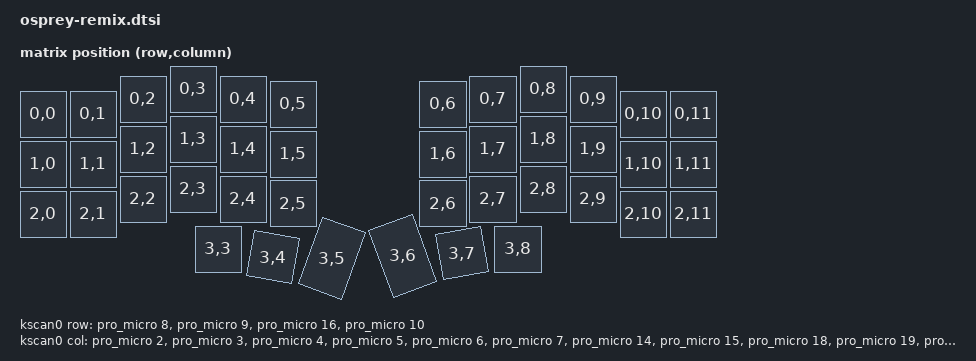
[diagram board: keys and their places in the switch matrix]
/*
 * Copyright (c) 2020 The ZMK Contributors
 *
 * SPDX-License-Identifier: MIT
 */

#include <dt-bindings/zmk/matrix_transform.h>
#include <physical_layouts.dtsi>

default_layout: default_layout {
        compatible = "zmk,physical-layout";
        display-name = "Default";
        transform = <&default_transform>;
        kscan = <&kscan0>;

        keys  //                     w   h    x    y     rot    rx    ry
            = <&key_physical_attrs 100 100    0   50       0     0     0>
            , <&key_physical_attrs 100 100  100   50       0     0     0>
            , <&key_physical_attrs 100 100  200   20       0     0     0>
            , <&key_physical_attrs 100 100  300    0       0     0     0>
            , <&key_physical_attrs 100 100  400   20       0     0     0>
            , <&key_physical_attrs 100 100  500   30       0     0     0>
            , <&key_physical_attrs 100 100  800   30       0     0     0>
            , <&key_physical_attrs 100 100  900   20       0     0     0>
            , <&key_physical_attrs 100 100 1000    0       0     0     0>
            , <&key_physical_attrs 100 100 1100   20       0     0     0>
            , <&key_physical_attrs 100 100 1200   50       0     0     0>
            , <&key_physical_attrs 100 100 1300   50       0     0     0>
            , <&key_physical_attrs 100 100    0  150       0     0     0>
            , <&key_physical_attrs 100 100  100  150       0     0     0>
            , <&key_physical_attrs 100 100  200  120       0     0     0>
            , <&key_physical_attrs 100 100  300  100       0     0     0>
            , <&key_physical_attrs 100 100  400  120       0     0     0>
            , <&key_physical_attrs 100 100  500  130       0     0     0>
            , <&key_physical_attrs 100 100  800  130       0     0     0>
            , <&key_physical_attrs 100 100  900  120       0     0     0>
            , <&key_physical_attrs 100 100 1000  100       0     0     0>
            , <&key_physical_attrs 100 100 1100  120       0     0     0>
            , <&key_physical_attrs 100 100 1200  150       0     0     0>
            , <&key_physical_attrs 100 100 1300  150       0     0     0>
            , <&key_physical_attrs 100 100    0  250       0     0     0>
            , <&key_physical_attrs 100 100  100  250       0     0     0>
            , <&key_physical_attrs 100 100  200  220       0     0     0>
            , <&key_physical_attrs 100 100  300  200       0     0     0>
            , <&key_physical_attrs 100 100  400  220       0     0     0>
            , <&key_physical_attrs 100 100  500  229       0     0     0>
            , <&key_physical_attrs 100 100  800  229       0     0     0>
            , <&key_physical_attrs 100 100  900  220       0     0     0>
            , <&key_physical_attrs 100 100 1000  200       0     0     0>
            , <&key_physical_attrs 100 100 1100  220       0     0     0>
            , <&key_physical_attrs 100 100 1200  250       0     0     0>
            , <&key_physical_attrs 100 100 1300  250       0     0     0>
            , <&key_physical_attrs 100 100  350  320       0     0     0>
            , <&key_physical_attrs 100 100  470  320    1000   420   320>
            , <&key_physical_attrs 100 150  600  300    2000   600   320>
            , <&key_physical_attrs 100 150  700  330 (-2000)   700   340>
            , <&key_physical_attrs 100 100  830  340 (-1000)   819   340>
            , <&key_physical_attrs 100 100  950  320       0     0     0>
            ;
    };

    osprey_position_map {
        compatible = "zmk,physical-layout-position-map";

        complete;

        default {
            physical-layout = <&default_layout>;
            positions
                = < 0  1  2  3  4  5  6  7  8  9 10 11>
                , <12 13 14 15 16 17 18 19 20 21 22 23>
                , <24 25 26 27 28 29 30 31 32 33 34 35>
                , <         36 37 38 39 40 41         >;
        };
    };

/ {
    chosen {
        zmk,kscan = &kscan0;
        zmk,matrix-transform = &default_transform;
        zmk,physical-layout = &default_layout;
    };

    default_transform: keymap_transform_0 {
        compatible = "zmk,matrix-transform";
        columns = <12>;
        rows = <4>;

        map = <
                RC(0,0) RC(0,1) RC(0,2) RC(0,3) RC(0,4) RC(0,5)    RC(0,6) RC(0,7) RC(0,8) RC(0,9) RC(0,10) RC(0,11)                        
                RC(1,0) RC(1,1) RC(1,2) RC(1,3) RC(1,4) RC(1,5)    RC(1,6) RC(1,7) RC(1,8) RC(1,9) RC(1,10) RC(1,11)                            
                RC(2,0) RC(2,1) RC(2,2) RC(2,3) RC(2,4) RC(2,5)    RC(2,6) RC(2,7) RC(2,8) RC(2,9) RC(2,10) RC(2,11)
                                        RC(3,3) RC(3,4) RC(3,5)    RC(3,6) RC(3,7) RC(3,8)
        >;
    };

  
    kscan0: kscan_0 {
        compatible = "zmk,kscan-gpio-matrix";
        wakeup-source;
        label = "KSCAN";
        diode-direction = "col2row";

        col-gpios
            = <&pro_micro 2 GPIO_ACTIVE_HIGH>
            , <&pro_micro 3 GPIO_ACTIVE_HIGH>
            , <&pro_micro 4 GPIO_ACTIVE_HIGH>
            , <&pro_micro 5 GPIO_ACTIVE_HIGH>
            , <&pro_micro 6 GPIO_ACTIVE_HIGH>
            , <&pro_micro 7 GPIO_ACTIVE_HIGH>
            , <&pro_micro 14 GPIO_ACTIVE_HIGH>
            , <&pro_micro 15 GPIO_ACTIVE_HIGH>
            , <&pro_micro 18 GPIO_ACTIVE_HIGH>
            , <&pro_micro 19 GPIO_ACTIVE_HIGH>
            , <&pro_micro 20 GPIO_ACTIVE_HIGH>
            , <&pro_micro 21 GPIO_ACTIVE_HIGH>
            ;

        row-gpios
            = <&pro_micro 8 (GPIO_ACTIVE_HIGH | GPIO_PULL_DOWN)>
            , <&pro_micro 9 (GPIO_ACTIVE_HIGH | GPIO_PULL_DOWN)>
            , <&pro_micro 16 (GPIO_ACTIVE_HIGH | GPIO_PULL_DOWN)>
            , <&pro_micro 10 (GPIO_ACTIVE_HIGH | GPIO_PULL_DOWN)>
            ;
    };
};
